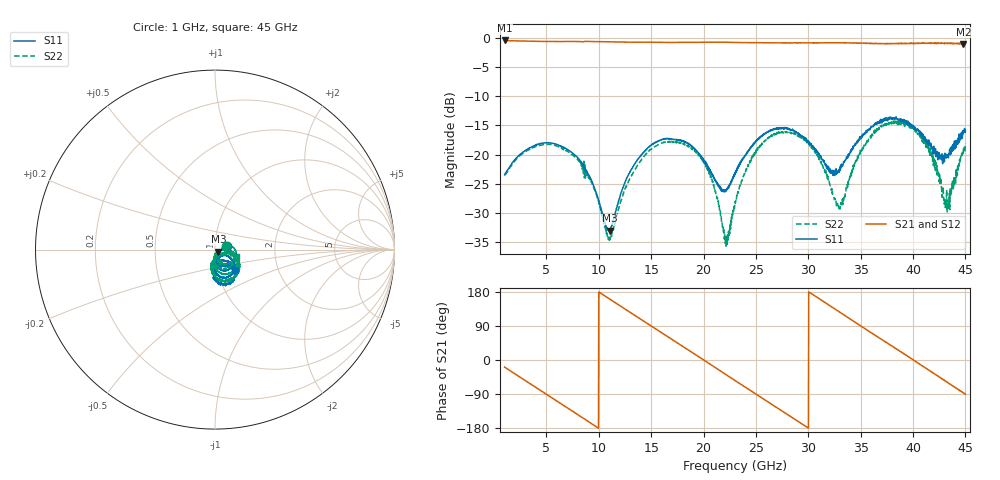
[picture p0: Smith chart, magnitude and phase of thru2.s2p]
!Keysight Technologies,N5247B,MY61255062,A.19.80.06
!Date: Thursday, May 21, 2026 11:52:23
!Correction: S11(Cdelta 2-Port  )
!S21(Cdelta 2-Port  )
!S12(Cdelta 2-Port  )
!S22(Cdelta 2-Port  )
!S2P File: Measurements: S11, S21, S12, S22:
# Hz S  dB  R 50
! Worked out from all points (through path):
!   1601 points, 1 GHz to 45 GHz, reference 50 ohm
!   highest |S21| = -0.48 dB at 1 GHz (marker M1); lowest = -1.1 dB at 44.81 GHz (marker M2)
!   group delay of S21, straight-line fit = 49.9 ps
!   lowest |S11| = -33.0 dB at 11.04 GHz (marker M3), VSWR 1.05, Z = 51.9 - j1.28 ohm
!   |S11| at or under -10 dB: start of sweep to end of sweep
!   |S22| runs from -35.6 to -14.1 dB; largest |S21 - S12| = 0.014
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1e9  -23.41 17.7  -0.48 -18.8  -0.48 -18.8  -23.52 18.1
3.035e9  -19.23 1.6  -0.61 -55.4  -0.61 -55.4  -19.43 3.7
4.74e9  -18.00 -22.0  -0.65 -85.9  -0.66 -85.9  -18.28 -17.9
6.5e9  -18.62 -47.5  -0.66 -117.4  -0.67 -117.4  -18.91 -42.7
8.3425e9  -21.31 -72.7  -0.69 -150.7  -0.69 -150.7  -21.96 -68.2
1.10375e10  -32.96 -33.2  -0.72 160.7  -0.72 160.7  -34.41 -34.7
1.35125e10  -21.33 -8.0  -0.78 116.4  -0.78 116.4  -22.31 3.7
1.5685e10  -17.69 -33.8  -0.81 77.5  -0.81 77.5  -18.29 -24.2
1.95075e10  -19.72 -79.7  -0.80 9.1  -0.80 9.1  -20.08 -79.5
2.08275e10  -23.26 -83.0  -0.78 -14.7  -0.79 -14.7  -24.59 -95.4
2.212e10  -26.29 -49.1  -0.79 -38.2  -0.79 -38.2  -33.98 -60.3
2.3e10  -23.15 -28.1  -0.83 -54.1  -0.83 -54.1  -28.05 -2.9
2.63e10  -15.99 -47.7  -0.89 -113.2  -0.89 -113.2  -17.09 -29.4
2.84725e10  -15.76 -73.9  -0.90 -152.0  -0.90 -152.1  -16.32 -61.5
3.03425e10  -18.67 -89.6  -0.88 174.3  -0.89 174.2  -18.68 -85.4
3.301e10  -22.13 -52.9  -0.90 126.1  -0.88 126.0  -28.66 -48.1
3.52375e10  -16.70 -40.9  -0.95 85.4  -0.96 85.6  -18.75 -17.8
3.7685e10  -13.92 -65.1  -1.04 42.2  -1.01 42.1  -14.60 -49.2
4.049e10  -15.89 -88.0  -0.94 -8.0  -0.95 -8.4  -16.47 -89.5
4.32125e10  -19.96 -58.2  -0.96 -58.2  -0.97 -57.9  -26.01 -60.3
4.48075e10  -16.18 -45.8  -1.08 -87.0  -1.02 -86.7  -19.12 -16.8
4.5e10  -15.97 -46.0  -1.06 -89.9  -1.01 -90.3  -18.06 -18.7
